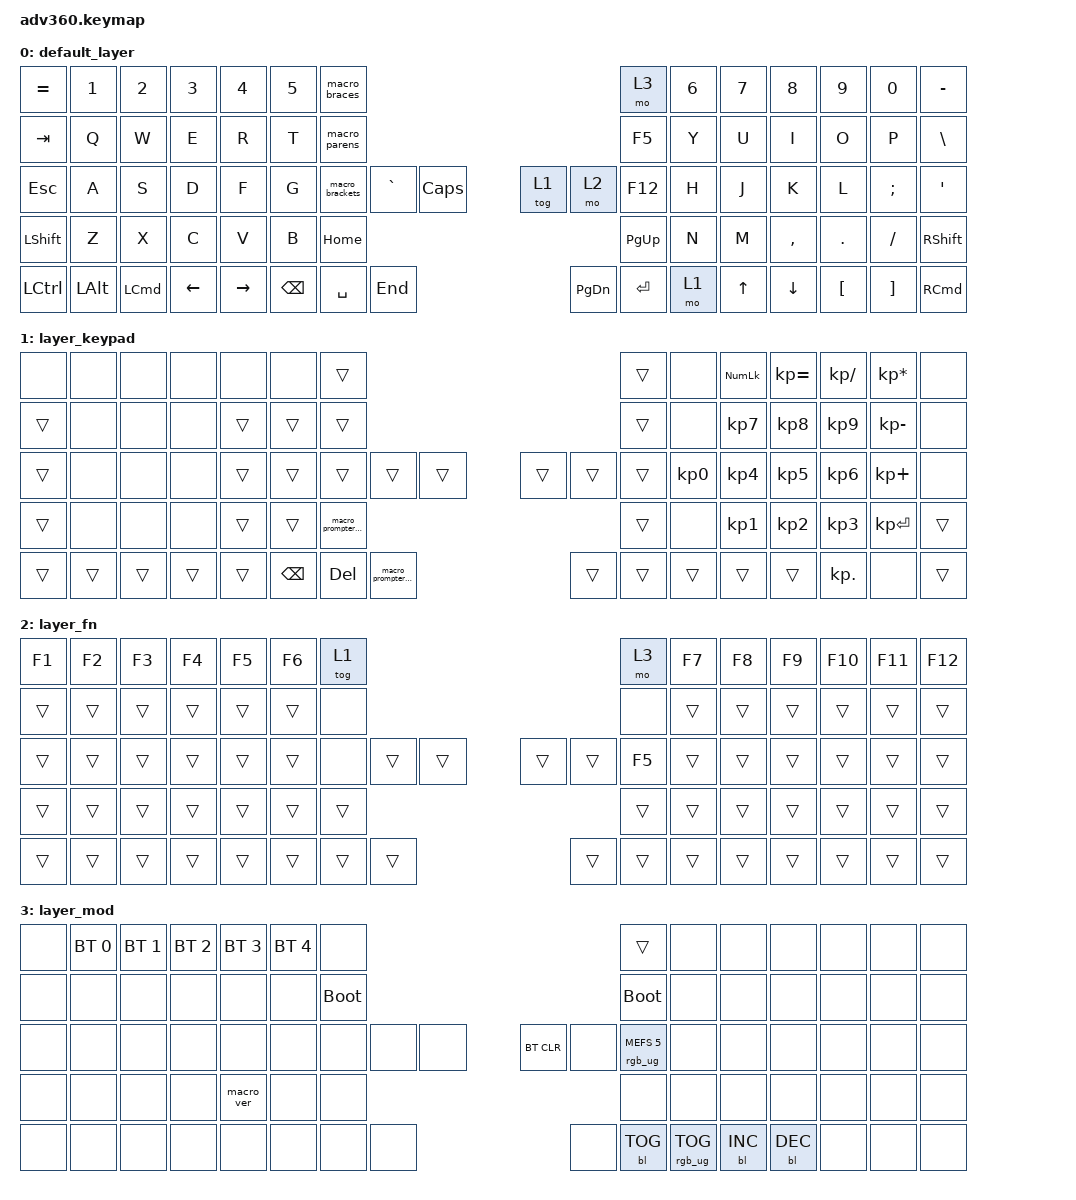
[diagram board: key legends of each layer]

/*
 * Copyright (c) 2020 The ZMK Contributors
 *
 * SPDX-License-Identifier: MIT
 */


/* THIS FILE WAS GENERATED!
 *
 * This file was generated automatically. You may or may not want to
 * edit it directly.
 */

#include <behaviors.dtsi>
#include <dt-bindings/zmk/keys.h>
#include <dt-bindings/zmk/bt.h>
#include <dt-bindings/zmk/rgb.h>
#include <dt-bindings/zmk/backlight.h>

/ {
  behaviors {
    #include "macros.dtsi"
    #include "version.dtsi"

    hm: homerow_mods {
        compatible = "zmk,behavior-hold-tap";
        label = "HOMEROW_MODS";
        #binding-cells = <2>;
        tapping-term-ms = <200>;
        quick_tap_ms = <175>;
        flavor = "tap-preferred";
        bindings = <&kp>, <&kp>;
    };
  };

    keymap {
        compatible = "zmk,keymap";


        default_layer {
            bindings = <
 &kp EQUAL        &kp N1            &kp N2    &kp N3     &kp N4  &kp N5              &macro_braces                                                                   &mo 3  &kp N6  &kp N7     &kp N8    &kp N9    &kp N0          &kp MINUS
   &kp TAB         &kp Q             &kp W     &kp E      &kp R   &kp T              &macro_parens                                                                  &kp F5   &kp Y   &kp U      &kp I     &kp O     &kp P           &kp BSLH
   &kp ESC         &kp A             &kp S     &kp D      &kp F   &kp G            &macro_brackets  &kp GRAVE  &kp CAPSLOCK                     &tog 1      &mo 2  &kp F12   &kp H   &kp J      &kp K     &kp L  &kp SEMI            &kp SQT
 &kp LSHFT         &kp Z             &kp X     &kp C      &kp V   &kp B                                            &kp HOME                  &kp PG_UP                       &kp N   &kp M  &kp COMMA   &kp DOT  &kp FSLH          &kp RSHFT
 &kp LCTRL  &kp LEFT_ALT  &kp LEFT_COMMAND  &kp LEFT  &kp RIGHT                      &kp BACKSPACE  &kp SPACE       &kp END                  &kp PG_DN  &kp ENTER    &mo 1          &kp UP   &kp DOWN  &kp LBKT  &kp RBKT  &kp RIGHT_COMMAND
            >;
        };

        layer_keypad {
            bindings = <
  &none   &none   &none   &none   &none   &none              &trans                                                                 &trans      &none  &kp KP_NUM  &kp KP_EQUAL  &kp KP_DIVIDE  &kp KP_MULTIPLY   &none
 &trans   &none   &none   &none  &trans  &trans              &trans                                                                 &trans      &none   &kp KP_N7     &kp KP_N8      &kp KP_N9     &kp KP_MINUS   &none
 &trans   &none   &none   &none  &trans  &trans              &trans   &trans                &trans                  &trans  &trans  &trans  &kp KP_N0   &kp KP_N4     &kp KP_N5      &kp KP_N6      &kp KP_PLUS   &none
 &trans   &none   &none   &none  &trans  &trans                                 &macro_prompter_up                  &trans                      &none   &kp KP_N1     &kp KP_N2      &kp KP_N3     &kp KP_ENTER  &trans
 &trans  &trans  &trans  &trans  &trans                    &kp BSPC  &kp DEL  &macro_prompter_down                  &trans  &trans  &trans                 &trans        &trans     &kp KP_DOT            &none  &trans
            >;
        };

        layer_fn {
            bindings = <
 &kp F1  &kp F2  &kp F3  &kp F4  &kp F5  &kp F6            &tog 1                                                   &mo 3  &kp F7  &kp F8  &kp F9  &kp F10  &kp F11  &kp F12
 &trans  &trans  &trans  &trans  &trans  &trans             &none                                                   &none  &trans  &trans  &trans   &trans   &trans   &trans
 &trans  &trans  &trans  &trans  &trans  &trans             &none  &trans  &trans                  &trans  &trans  &kp F5  &trans  &trans  &trans   &trans   &trans   &trans
 &trans  &trans  &trans  &trans  &trans  &trans                            &trans                  &trans                  &trans  &trans  &trans   &trans   &trans   &trans
 &trans  &trans  &trans  &trans  &trans                    &trans  &trans  &trans                  &trans  &trans  &trans          &trans  &trans   &trans   &trans   &trans
            >;
        };

        layer_mod {
            bindings = <
  &none  &bt BT_SEL 0  &bt BT_SEL 1  &bt BT_SEL 2  &bt BT_SEL 3  &bt BT_SEL 4                  &none                                                                          &trans   &none       &none       &none   &none   &none   &none
  &none         &none         &none         &none         &none         &none            &bootloader                                                                     &bootloader   &none       &none       &none   &none   &none   &none
  &none         &none         &none         &none         &none         &none                  &none   &none   &none                  &bt BT_CLR       &none  &rgb_ug RGB_MEFS_CMD 5   &none       &none       &none   &none   &none   &none
  &none         &none         &none         &none    &macro_ver         &none                                  &none                       &none                                       &none       &none       &none   &none   &none   &none
  &none         &none         &none         &none         &none                                &none   &none   &none                       &none  &bl BL_TOG         &rgb_ug RGB_TOG          &bl BL_INC  &bl BL_DEC   &none   &none   &none
            >;
        };

    };
};
